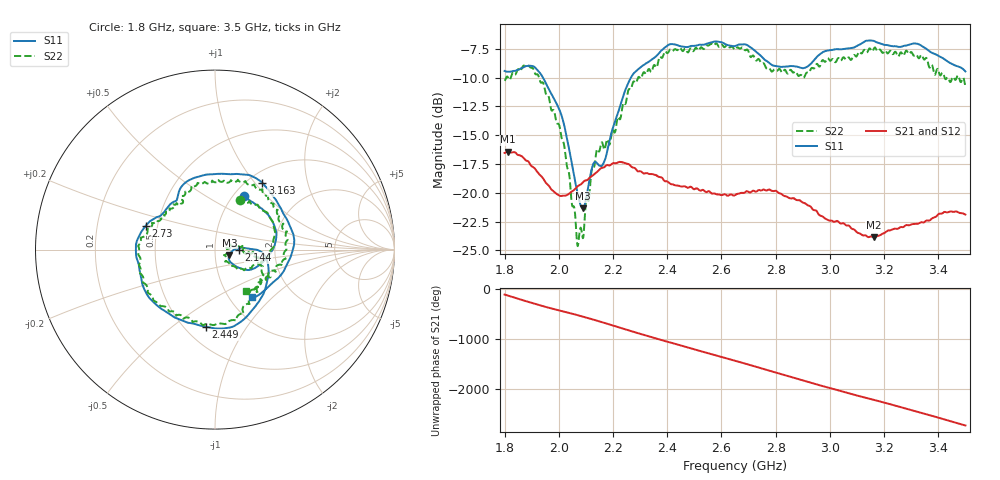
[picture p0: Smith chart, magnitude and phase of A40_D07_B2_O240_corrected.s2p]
! Created with skrf 1.9.0 (http://scikit-rf.org).
# Hz S RI R 50.0
!freq ReS11 ImS11 ReS21 ImS21 ReS12 ImS12 ReS22 ImS22
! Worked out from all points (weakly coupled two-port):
!   1601 points, 1.8 GHz to 3.5 GHz, reference 50 ohm
!   highest |S21| = -16.43 dB at 1.812 GHz (marker M1); lowest = -23.9 dB at 3.162 GHz (marker M2)
!   lowest |S11| = -21.3 dB at 2.089 GHz (marker M3), VSWR 1.19, Z = 58.6 - j3.55 ohm
!   |S11| at or under -10 dB: 1.942 GHz to 2.266 GHz (324.1 MHz wide, 15.4 % of centre)
!   |S22| runs from -24.6 to -7.0 dB; largest |S21 - S12| = 0.0027
!   S11 on the Smith chart (normalised r, x): 1.8 GHz: 1.12, +0.75; 2.144 GHz: 1.31, -0.00; 2.449 GHz: 0.63, -0.67; 2.73 GHz: 0.43, +0.14; 3.163 GHz: 1.16, +1.09; 3.5 GHz: 1.26, -0.76
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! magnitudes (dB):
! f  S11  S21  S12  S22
! 1.8 GHz  -9.4  -16.5  -16.5  -10.3
! 1.812 GHz  -9.5  -16.4  -16.4  -9.9
! 1.884 GHz  -9.0  -17.2  -17.3  -8.9
! 1.942 GHz  -10.0  -18.8  -18.8  -10.5
! 2.011 GHz  -13.4  -20.3  -20.3  -15.3
! 2.067 GHz  -19.8  -19.5  -19.5  -24.2
! 2.084 GHz  -21.2  -19.2  -19.2  -23.3
! 2.089 GHz  -21.3  -19.1  -19.1  -23.9
! 2.125 GHz  -17.6  -18.5  -18.5  -17.9
! 2.144 GHz  -17.5  -18.1  -18.1  -16.3
! 2.168 GHz  -17.3  -17.8  -17.8  -16.2
! 2.265 GHz  -10.0  -17.7  -17.7  -11.0
! 2.367 GHz  -7.9  -18.6  -18.5  -8.5
! 2.449 GHz  -7.3  -19.4  -19.4  -7.4
! 2.65 GHz  -7.3  -20.2  -20.2  -7.6
! 2.73 GHz  -7.8  -19.9  -19.9  -8.5
! 2.934 GHz  -8.7  -21.3  -21.3  -9.1
! 3.162 GHz  -6.8  -23.9  -23.8  -7.5
! 3.163 GHz  -6.8  -23.9  -23.8  -7.4
! 3.217 GHz  -7.2  -23.3  -23.2  -7.8
! 3.325 GHz  -7.1  -22.7  -22.7  -8.2
! 3.5 GHz  -9.5  -21.9  -21.9  -10.8
